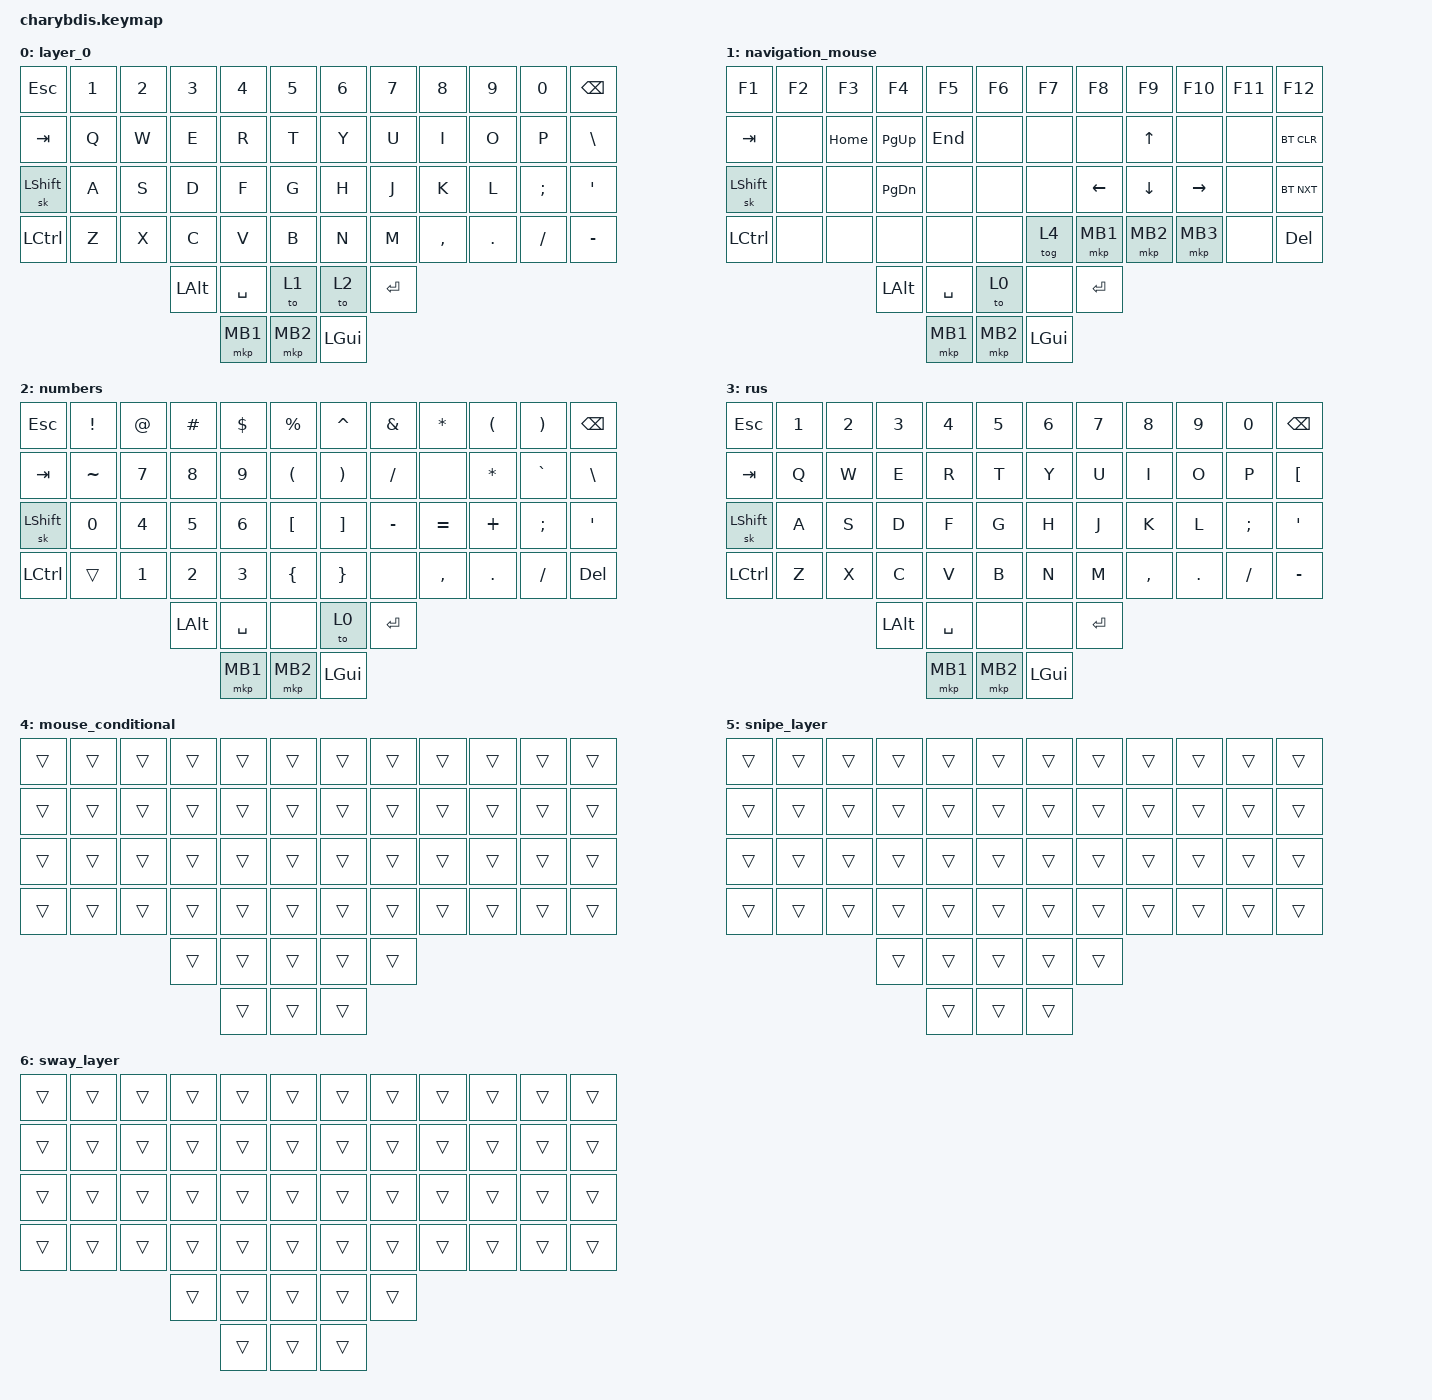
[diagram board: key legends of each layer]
#include <dt-bindings/zmk/mouse.h>
#include <input/processors.dtsi>
#include <zephyr/dt-bindings/input/input-event-codes.h>
#include <behaviors.dtsi>
#include <dt-bindings/zmk/bt.h>
#include <dt-bindings/zmk/keys.h>
#include <dt-bindings/zmk/pointing.h>

// DEAD WEIGHT (commented out): these overrode the default per-tick amount for
// ZMK's KEY-DRIVEN mouse-move (&mmv) / mouse-scroll (&msc) behaviors. Nothing on
// this board binds those, and dt-bindings/zmk/pointing.h already defines
// defaults — so these only produced "redefined" warnings at build time. They
// never affected the physical trackball (whose speed is CONFIG_PMW3610_CPI).
// #define ZMK_POINTING_DEFAULT_MOVE_VAL 1000 // 600
// #define ZMK_POINTING_DEFAULT_SCRL_VAL 12   // 10

// Trackball snipe (slow/precise) and sway (fast) layers. Held via the home-row
// combos (k+l / j+k) and consumed by the trackball overrides in the right overlay.
// These numbers MUST match the layers' order in the keymap node further down
// (snipe = 6th layer = index 5, sway = 7th layer = index 6).
#define SNIPE_LAYER 5
#define SWAY_LAYER  6

&lt {
    tapping-term-ms = <200>;
    flavor = "balanced";
    quick-tap-ms = <150>;
};

/*
 * ---------------------------------------------------------------------------
 * DEAD WEIGHT (commented out) — none of this touched the physical trackball.
 *
 *  - &mmv_input_listener / &msc_input_listener: the input pipelines for ZMK's
 *    KEY-DRIVEN mouse-move (&mmv) and mouse-scroll (&msc) behaviors. The
 *    zip_*_scaler doubled their speed. But no key binds &mmv, and &msc was only
 *    produced by the encoder (knob) behaviors below — which this board doesn't
 *    physically have. So these scalers never affected anything.
 *  - &msc / &mmv: acceleration / speed-ramp tuning for those same key-driven
 *    behaviors. Inert for the same reason.
 *
 * The physical trackball is a SEPARATE device (&trackball_listener); its base
 * speed is CONFIG_PMW3610_CPI (charybdis_right.conf), and it is scaled for
 * snipe / sway by the overrides immediately below.
 * ---------------------------------------------------------------------------
 */
// &mmv_input_listener { input-processors = <&zip_xy_scaler 2 1>; };
//
// &msc_input_listener { input-processors = <&zip_scroll_scaler 2 1>; };
//
// &msc {
//     acceleration-exponent = <0>;      // 0
//     time-to-max-speed-ms = <100>;       // 300
//     delay-ms = <0>;                   // 0
// };
//
// &mmv {
//     time-to-max-speed-ms = <300>;
//     acceleration-exponent = <1>;
//     trigger-period-ms = <16>;
// };

// SNIPE / SWAY: the actual trackball scalers live in charybdis_right.overlay,
// because that is where the trackball device and its input listener are defined.
// The trackball only exists on the right half, but this keymap is shared by both
// halves — referencing &trackball_listener here would fail to build the left
// half. The combos and the snipe_layer / sway_layer below drive those scalers;
// the overlay's overrides match on layers 5 (SNIPE_LAYER) and 6 (SWAY_LAYER).

/ {
    /*
     * DEAD WEIGHT (commented out): rotary-encoder (knob) scroll behaviors.
     * This board has no physical encoder, so these never ran. Originally:
     *   scroll_vertical_encoder   = knob -> vertical scroll   (上下滚动)
     *   scroll_horizontal_encoder = knob -> horizontal scroll (左右滚动)
     * Each turned encoder rotation into &msc scroll events. The per-layer
     * `sensor-bindings` that referenced them are commented out too (below).
     *
     * scroll_vertical_encoder: scroll_vertical_encoder {
     *     compatible = "zmk,behavior-sensor-rotate";
     *     sensor-binding-cells = <0>;
     *     bindings = <&msc SCRL_DOWN>, <&msc SCRL_UP>;
     *     tap-ms = <100>;
     * };
     * scroll_horizontal_encoder: scroll_horizontal_encoder {
     *     compatible = "zmk,behavior-sensor-rotate";
     *     sensor-binding-cells = <0>;
     *     bindings = <&msc SCRL_LEFT>, <&msc SCRL_RIGHT>;
     *     tap-ms = <100>;
     * };
     */

    behaviors {
    };

    combos {
        compatible = "zmk,combos";

        combo_left_brace {
            bindings = <&kp LEFT_BRACE>;
            key-positions = <48 9 24>;
            timeout-ms = <50>;
            layers = <0>;
        };

        combo_right_brace {
            bindings = <&kp RIGHT_BRACE>;
            key-positions = <48 10 24>;
            timeout-ms = <50>;
            layers = <0>;
        };

        combo_left_bracket {
            bindings = <&kp LEFT_BRACKET>;
            key-positions = <48 44 24>;
            timeout-ms = <50>;
            layers = <0>;
        };

        combo_right_bracket {
            bindings = <&kp RIGHT_BRACKET>;
            key-positions = <48 45 24>;
            timeout-ms = <50>;
            layers = <0>;
        };

        combo_equal {
            bindings = <&kp KP_EQUAL>;
            key-positions = <44 45>;
            timeout-ms = <50>;
            layers = <0>;
        };

        combo_plus {
            bindings = <&kp KP_PLUS>;
            key-positions = <48 47>;
            timeout-ms = <50>;
            layers = <0>;
        };

        ER {
            bindings = <&kp RIGHT_BRACKET>;
            key-positions = <24 43>;
            timeout-ms = <50>;
            layers = <3>;
        };

        combo_to_rus {
            bindings = <&to 3>;
            key-positions = <50 51>;
            layers = <0>;
        };

        combo_from_rus {
            bindings = <&to 0>;
            key-positions = <50 51>;
            layers = <3>;
        };

        // Trackball speed combos (right home row), held momentarily:
        //   j+k (positions 31 32) -> "sway"  = faster pointer
        //   k+l (positions 32 33) -> "snipe" = slower / precise pointer
        // require-prior-idle-ms keeps them from firing during fast typing
        // rolls; scoped to layer 0. See the trackball overrides in the right overlay.
        combo_sway {
            bindings = <&mo SWAY_LAYER>;
            key-positions = <31 32>;
            timeout-ms = <50>;
            require-prior-idle-ms = <125>;
            layers = <0>;
        };

        combo_snipe {
            bindings = <&mo SNIPE_LAYER>;
            key-positions = <32 33>;
            timeout-ms = <50>;
            require-prior-idle-ms = <125>;
            layers = <0>;
        };
    };

    keymap {
        compatible = "zmk,keymap";

        layer_0 {
            bindings = <
&kp ESC         &kp N1  &kp N2  &kp N3        &kp N4     &kp N5      &kp N6        &kp N7     &kp N8     &kp N9   &kp N0    &kp BACKSPACE
&kp TAB         &kp Q   &kp W   &kp E         &kp R      &kp T       &kp Y         &kp U      &kp I      &kp O    &kp P     &kp BSLH
&sk LEFT_SHIFT  &kp A   &kp S   &kp D         &kp F      &kp G       &kp H         &kp J      &kp K      &kp L    &kp SEMI  &kp SQT
&kp LCTRL       &kp Z   &kp X   &kp C         &kp V      &kp B       &kp N         &kp M      &kp COMMA  &kp DOT  &kp FSLH  &kp MINUS
                                &kp LEFT_ALT  &kp SPACE  &to 1       &to 2         &kp ENTER
                                              &mkp MB1   &mkp MB2    &kp LEFT_GUI
            >;

            /* DEAD WEIGHT (no physical encoder): mapped knob rotation to
             * scroll (encoder1 = vertical 上下, encoder2 = horizontal 左右).
             * Disabled along with the scroll_*_encoder behaviors above.
            sensor-bindings =
                <&scroll_vertical_encoder>,
                <&scroll_horizontal_encoder>;
            */
        };

        navigation_mouse {
            bindings = <
&kp F1          &kp F2  &kp F3    &kp F4         &kp F5     &kp F6      &kp F7        &kp F8     &kp F9    &kp F10    &kp F11  &kp F12
&kp TAB         &none   &kp HOME  &kp PG_UP      &kp END    &none       &none         &none      &kp UP    &none      &none    &bt BT_CLR
&sk LEFT_SHIFT  &none   &none     &kp PAGE_DOWN  &none      &none       &none         &kp LEFT   &kp DOWN  &kp RIGHT  &none    &bt BT_NXT
&kp LCTRL       &none   &none     &none          &none      &none       &tog 4        &mkp MB1   &mkp MB2  &mkp MB3   &none    &kp DELETE
                                  &kp LEFT_ALT   &kp SPACE  &to 0       &none         &kp ENTER
                                                 &mkp MB1   &mkp MB2    &kp LEFT_GUI
            >;
        };

        numbers {
            bindings = <
&kp ESC    &kp EXCLAMATION  &kp AT_SIGN   &kp HASH      &kp DOLLAR    &kp PERCENT             &kp CARET              &kp AMPERSAND  &kp ASTERISK  &kp LEFT_PARENTHESIS  &kp RIGHT_PARENTHESIS  &kp BACKSPACE
&kp TAB    &kp TILDE        &kp N7        &kp N8        &kp N9        &kp LEFT_PARENTHESIS    &kp RIGHT_PARENTHESIS  &kp SLASH      &none         &kp ASTERISK          &kp GRAVE              &kp BACKSLASH
&sk LSHFT  &kp N0           &kp NUMBER_4  &kp N5        &kp NUMBER_6  &kp LEFT_BRACKET        &kp RIGHT_BRACKET      &kp MINUS      &kp EQUAL     &kp PLUS              &kp SEMICOLON          &kp SQT
&kp LCTRL  &trans           &kp NUMBER_1  &kp NUMBER_2  &kp NUMBER_3  &kp LEFT_BRACE          &kp RIGHT_BRACE        &none          &kp COMMA     &kp DOT               &kp SLASH              &kp DELETE
                                          &kp LEFT_ALT  &kp SPACE     &none                   &to 0                  &kp ENTER
                                                        &mkp MB1      &mkp MB2                &kp LEFT_GUI
            >;

            /* DEAD WEIGHT (no physical encoder): mapped knob rotation to
             * scroll (encoder1 = vertical 上下, encoder2 = horizontal 左右).
             * Disabled along with the scroll_*_encoder behaviors above.
            sensor-bindings =
                <&scroll_vertical_encoder>,
                <&scroll_horizontal_encoder>;
            */
        };

        rus {
            bindings = <
&kp ESC         &kp N1  &kp N2  &kp N3        &kp N4     &kp N5      &kp N6        &kp N7     &kp N8     &kp N9   &kp N0    &kp BACKSPACE
&kp TAB         &kp Q   &kp W   &kp E         &kp R      &kp T       &kp Y         &kp U      &kp I      &kp O    &kp P     &kp LEFT_BRACKET
&sk LEFT_SHIFT  &kp A   &kp S   &kp D         &kp F      &kp G       &kp H         &kp J      &kp K      &kp L    &kp SEMI  &kp SQT
&kp LCTRL       &kp Z   &kp X   &kp C         &kp V      &kp B       &kp N         &kp M      &kp COMMA  &kp DOT  &kp FSLH  &kp MINUS
                                &kp LEFT_ALT  &kp SPACE  &none       &none         &kp ENTER
                                              &mkp MB1   &mkp MB2    &kp LEFT_GUI
            >;

            /* DEAD WEIGHT (no physical encoder): knob -> scroll mapping,
             * disabled along with the scroll_*_encoder behaviors above.
            sensor-bindings =
                <&scroll_vertical_encoder>,
                <&scroll_horizontal_encoder>;
            */
        };

        mouse_conditional {
            bindings = <
&trans  &trans  &trans  &trans  &trans  &trans    &trans  &trans  &trans  &trans  &trans  &trans
&trans  &trans  &trans  &trans  &trans  &trans    &trans  &trans  &trans  &trans  &trans  &trans
&trans  &trans  &trans  &trans  &trans  &trans    &trans  &trans  &trans  &trans  &trans  &trans
&trans  &trans  &trans  &trans  &trans  &trans    &trans  &trans  &trans  &trans  &trans  &trans
                        &trans  &trans  &trans    &trans  &trans
                                &trans  &trans    &trans
            >;

            /* DEAD WEIGHT (no physical encoder): knob -> scroll mapping,
             * disabled along with the scroll_*_encoder behaviors above.
            sensor-bindings =
                <&scroll_vertical_encoder>,
                <&scroll_horizontal_encoder>;
            */
        };

        // Snipe layer (index 5): fully transparent so all normal keys keep
        // working while held. Its only job is to be "active" so the trackball
        // snipe scaler (1/3) kicks in. Held via the k+l combo.
        snipe_layer {
            bindings = <
&trans  &trans  &trans  &trans  &trans  &trans    &trans  &trans  &trans  &trans  &trans  &trans
&trans  &trans  &trans  &trans  &trans  &trans    &trans  &trans  &trans  &trans  &trans  &trans
&trans  &trans  &trans  &trans  &trans  &trans    &trans  &trans  &trans  &trans  &trans  &trans
&trans  &trans  &trans  &trans  &trans  &trans    &trans  &trans  &trans  &trans  &trans  &trans
                        &trans  &trans  &trans    &trans  &trans
                                &trans  &trans    &trans
            >;
        };

        // Sway layer (index 6): same idea, activates the sway scaler (2x).
        // Held via the j+k combo.
        sway_layer {
            bindings = <
&trans  &trans  &trans  &trans  &trans  &trans    &trans  &trans  &trans  &trans  &trans  &trans
&trans  &trans  &trans  &trans  &trans  &trans    &trans  &trans  &trans  &trans  &trans  &trans
&trans  &trans  &trans  &trans  &trans  &trans    &trans  &trans  &trans  &trans  &trans  &trans
&trans  &trans  &trans  &trans  &trans  &trans    &trans  &trans  &trans  &trans  &trans  &trans
                        &trans  &trans  &trans    &trans  &trans
                                &trans  &trans    &trans
            >;
        };

        /* layer_2 {
            bindings = <
&none  &none   &none    &none   &none         &none         &kp N1         &none         &none     &none  &none   &to 0
&none  &none   &none    &none   &none         &none         &none         &none          &rgb_ug RGB_BRD &rgb_ug RGB_BRI  &rgb_ug RGB_EFF   &rgb_ug RGB_TOG
&none  &none   &none    &none   &none         &none         &none         &mkp LCLK     &mkp RCLK  &none  &none   &none
&none  &none   &none    &none   &bt BT_NXT  &bt BT_CLR    &none         &none         &none     &none  &none   &none
                                   &none         &none         &none         &none         &none
                                                 &none         &none         &none
            >;
       
            
        };

       Mouse {
            bindings = <
&none        &none         &none         &none         &none      &none         &none       &none      &none         &none         &none         &none
&none        &bt BT_SEL 0  &bt BT_SEL 1  &bt BT_SEL 3  &none      &bt BT_CLR    &bt BT_CLR  &none      &bt BT_SEL 2  &bt BT_SEL 1  &bt BT_SEL 0  &none
&none        &trans        &trans        &mkp MCLK     &trans     &none         &none       &trans     &mkp MCLK     &trans        &trans        &none
&bootloader  &trans        &mkp RCLK     &mo 4         &mkp LCLK  &mo 5         &mo 5       &mkp LCLK  &mo 4         &mkp RCLK     &trans        &bootloader
                                         &mo 5         &mkp LCLK  &mkp RCLK     &mkp RCLK   &mkp LCLK
                                                       &none      &trans        &trans
            >;

            
        };

        layer_4 {
            bindings = <
&trans  &trans  &trans     &trans     &trans     &trans       &trans     &trans     &trans     &trans     &trans  &trans
&trans  &trans  &trans     &trans     &trans     &trans       &trans     &trans     &trans     &trans     &trans  &trans
&trans  &trans  &trans     &mkp MCLK  &trans     &trans       &trans     &trans     &mkp MCLK  &trans     &trans  &trans
&trans  &trans  &mkp RCLK  &trans     &mkp LCLK  &trans       &trans     &mkp LCLK  &trans     &mkp RCLK  &trans  &trans
                           &trans     &mkp LCLK  &mkp RCLK    &mkp RCLK  &mkp LCLK
                                      &trans     &trans       &trans
            >;
                
                
               
        };

        layer_5 {
            bindings = <
&trans  &trans  &trans     &trans     &trans     &trans       &trans     &trans     &trans     &trans     &trans  &trans
&trans  &trans  &trans     &trans     &trans     &trans       &trans     &trans     &trans     &trans     &trans  &trans
&trans  &trans  &trans     &mkp MCLK  &trans     &trans       &trans     &trans     &mkp MCLK  &trans     &trans  &trans
&trans  &trans  &mkp RCLK  &trans     &mkp LCLK  &trans       &trans     &mkp LCLK  &trans     &mkp RCLK  &trans  &trans
                           &trans     &mkp LCLK  &mkp RCLK    &mkp RCLK  &mkp LCLK
                                      &trans     &trans       &trans
            >;
                
                
        };*/
    };
};
